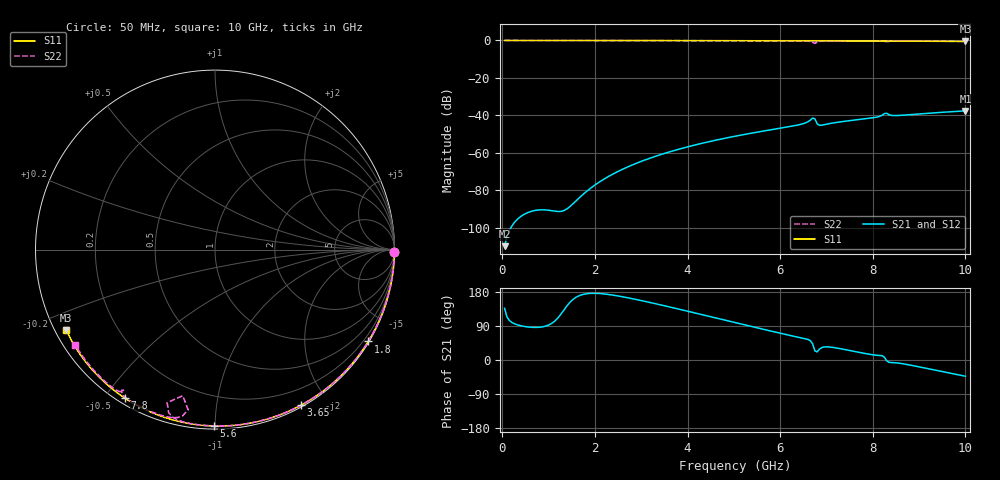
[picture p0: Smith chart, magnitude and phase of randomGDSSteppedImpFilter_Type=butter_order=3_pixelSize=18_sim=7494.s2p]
! freq	dB(S11)	phase(S11)	dB(S12)	phase(S12)
!  dB(S21)	phase(S21)	dB(S22)	phase(S22)
!S-par simulation data
#  GHz  S  DB  R 50
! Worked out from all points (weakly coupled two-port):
!   200 points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, 50 MHz to 10 GHz, reference 50 ohm
!   highest |S21| = -37.54 dB at 10 GHz (marker M1); lowest = -109.7 dB at 50 MHz (marker M2)
!   lowest |S11| = -0.5 dB at 10 GHz (marker M3), VSWR 33.80, Z = 1.57 - j12.7 ohm
!   |S11| at or under -10 dB: nowhere
!   |S22| runs from -1.6 to 0.0 dB; largest |S21 - S12| = 0
!   S11 on the Smith chart (normalised r, x): 50 MHz: open; 1.8 GHz: 0.03, -3.62; 3.65 GHz: 0.02, -1.70; 5.6 GHz: 0.02, -0.99; 7.8 GHz: 0.02, -0.56; 10 GHz: 0.03, -0.25
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0.05  -0.00 -0.9  -109.71 136.3  -109.71 136.3  -0.00 -0.8
1.75  -0.04 -30.1  -81.97 173.2  -81.97 173.2  -0.04 -29.1
1.8  -0.04 -30.9  -80.91 174.4  -80.91 174.4  -0.04 -29.9
1.85  -0.04 -31.8  -79.90 175.3  -79.90 175.3  -0.04 -30.7
2.15  -0.05 -36.8  -74.65 174.9  -74.65 174.9  -0.05 -35.5
2.55  -0.06 -43.4  -69.24 167.9  -69.24 167.9  -0.05 -41.9
3.4  -0.08 -57.1  -61.03 146.0  -61.03 146.0  -0.07 -55.2
3.65  -0.08 -61.1  -59.14 138.9  -59.14 138.9  -0.08 -59.1
5.05  -0.13 -82.4  -50.97 98.1  -50.97 98.1  -0.12 -79.9
5.6  -0.15 -90.5  -48.50 82.1  -48.50 82.1  -0.14 -87.8
6.45  -0.19 -102.6  -44.71 58.7  -44.71 58.7  -0.21 -100.7
6.6  -0.20 -104.7  -43.37 54.3  -43.37 54.3  -0.33 -104.1
6.7  -0.21 -106.1  -41.41 43.0  -41.41 43.0  -0.98 -107.4
6.75  -0.21 -106.8  -41.79 24.2  -41.79 24.2  -1.59 -102.4
6.8  -0.21 -107.5  -44.47 21.4  -44.47 21.4  -0.87 -99.5
6.85  -0.21 -108.2  -45.27 28.8  -45.27 28.8  -0.50 -101.1
7.8  -0.28 -121.2  -41.88 17.9  -41.88 17.9  -0.28 -116.8
8.1  -0.31 -125.3  -40.83 12.4  -40.83 12.4  -0.32 -121.2
8.25  -0.32 -127.4  -39.00 7.5  -39.00 7.5  -0.53 -123.5
8.35  -0.33 -128.7  -39.57 -6.2  -39.57 -6.2  -0.48 -123.2
8.55  -0.35 -131.4  -40.01 -8.1  -40.01 -8.1  -0.38 -126.1
10  -0.51 -151.5  -37.54 -42.8  -37.54 -42.8  -0.52 -145.7
